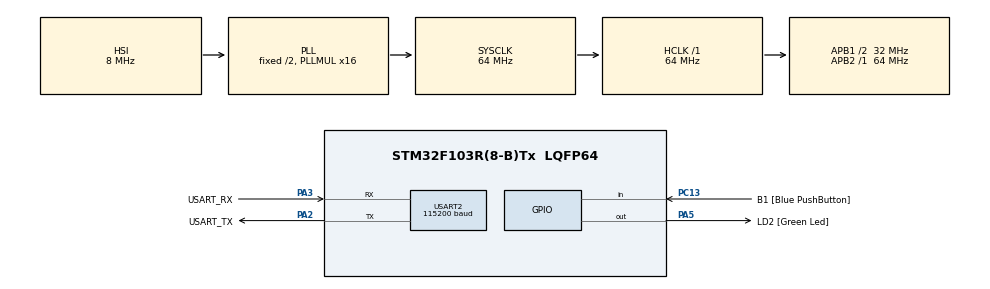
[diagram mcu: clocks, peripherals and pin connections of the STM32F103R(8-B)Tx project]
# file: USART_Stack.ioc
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Mcu.Family=STM32F1
Mcu.Name=STM32F103R(8-B)Tx
Mcu.Package=LQFP64
NVIC.PriorityGroup=NVIC_PRIORITYGROUP_4
NVIC.USART2_IRQn=true\:1\:0\:false\:false\:true\:true\:true\:true
PA13.GPIO_Label=TMS
PA13.Mode=Serial_Wire
PA13.Signal=SYS_JTMS-SWDIO
PA14.GPIO_Label=TCK
PA14.Mode=Serial_Wire
PA14.Signal=SYS_JTCK-SWCLK
PA2.GPIO_Label=USART_TX
PA2.GPIO_Mode=GPIO_MODE_AF_PP
PA2.GPIO_PuPd=GPIO_NOPULL
PA2.GPIO_Speed=GPIO_SPEED_FREQ_LOW
PA2.Mode=Asynchronous
PA2.Signal=USART2_TX
PA3.GPIO_Label=USART_RX
PA3.GPIO_PuPd=GPIO_NOPULL
PA3.GPIO_Speed=GPIO_SPEED_FREQ_LOW
PA3.Mode=Asynchronous
PA3.Signal=USART2_RX
PA5.GPIO_Label=LD2 [Green Led]
PA5.GPIO_ModeDefaultOutputPP=GPIO_MODE_OUTPUT_PP
PA5.GPIO_PuPd=GPIO_NOPULL
PA5.GPIO_Speed=GPIO_SPEED_FREQ_LOW
PA5.Signal=GPIO_Output
PB3.GPIO_Label=SWO
PB3.Signal=SYS_JTDO-TRACESWO
PC13-TAMPER-RTC.GPIO_Label=B1 [Blue PushButton]
PC13-TAMPER-RTC.GPIO_PuPd=GPIO_NOPULL
PC13-TAMPER-RTC.Signal=GPIO_Input
PC14-OSC32_IN.Mode=LSE-External-Oscillator
PC14-OSC32_IN.Signal=RCC_OSC32_IN
PC15-OSC32_OUT.Mode=LSE-External-Oscillator
PC15-OSC32_OUT.Signal=RCC_OSC32_OUT
PD0-OSC_IN.Mode=HSE-External-Clock-Source
PD0-OSC_IN.Signal=RCC_OSC_IN
PD1-OSC_OUT.Mode=HSE-External-Clock-Source
PD1-OSC_OUT.Signal=RCC_OSC_OUT
ProjectManager.HeapSize=0x200
ProjectManager.StackSize=0x400
ProjectManager.TargetToolchain=STM32CubeIDE
RCC.AHBFreq_Value=64000000
RCC.APB1CLKDivider=RCC_HCLK_DIV2
RCC.APB1Freq_Value=32000000
RCC.APB1TimFreq_Value=64000000
RCC.APB2Freq_Value=64000000
RCC.APB2TimFreq_Value=64000000
RCC.HCLKFreq_Value=64000000
RCC.PLLMUL=RCC_PLL_MUL16
RCC.RTCClockSelection=RCC_RTCCLKSOURCE_LSE
RCC.SYSCLKFreq_VALUE=64000000
RCC.SYSCLKSource=RCC_SYSCLKSOURCE_PLLCLK
RCC.USBFreq_Value=64000000
USART2.BaudRate=115200
USART2.VirtualMode=VM_ASYNC
board=NUCLEO-F103RB

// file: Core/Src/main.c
/* USER CODE BEGIN Header */
/**
 ******************************************************************************
 * @file           : main.c
 * @brief          : Main program body
 ******************************************************************************
 * @attention
 *
 * Copyright (c) 2026 STMicroelectronics.
 * All rights reserved.
 *
 * This software is licensed under terms that can be found in the LICENSE file
 * in the root directory of this software component.
 * If no LICENSE file comes with this software, it is provided AS-IS.
 *
 ******************************************************************************
 */
/**
 * 07_USART_Stack  —  [계층: HAL + CMSIS 내장 함수]  스택(LIFO) 자료구조: 괄호 검사기 + ISR 공유 시 경쟁 상태 실험
 *
 * 교안: 이 폴더의 "스택 교안.html" (짝 교안: 03_USART_RingBuffer/"UART 링 버퍼 교안.html")
 *
 * 구조
 *   수신 : 03_USART_RingBuffer 와 같은 링 버퍼(FIFO). ISR 이 push, main 이 pop  -> 받은 순서 유지
 *   검사 : main 이 꺼낸 글자를 스택(LIFO)으로 괄호 검사. 여는 괄호 push, 닫는 괄호 pop 후 짝 비교
 *   스택 : 배열 + top 하나. top = "다음에 쓸 빈 칸" = 저장된 개수.  empty: top == 0,  full: top == size
 *          링 버퍼와 달리 되감기가 없어 N 칸을 모두 쓰고, 크기가 2 의 거듭제곱일 필요도 없다.
 *
 * 시험 방법 (터미널 115200 8N1)
 *   - 괄호가 섞인 한 줄을 입력하고 엔터: "OK" 또는 mismatch / underflow / unclosed / overflow 와 위치(col) 출력
 *     예) {a[b(c)d]e} -> OK,  ([)] -> mismatch,  (a)) -> underflow,  ((a) -> unclosed,  9단 중첩 -> overflow (BR_STK_SIZE=8)
 *   - B1(PC13): 경쟁 상태 실험. SysTick ISR(1ms) 이 공유 스택에 push 하는 동안 main 이 같은 스택에 push/pop 을 반복한다.
 *       ① 보호 없음     : main 의 top 읽기-수정-쓰기 사이에 ISR 이 끼어들면 ISR 이 넣은 항목이 사라진다 (lost > 0 기대)
 *       ② PRIMASK 보호  : 같은 동작을 임계 구역으로 감싸면 lost = 0
 *
 * 하드웨어 대응
 *   USART2->CR1.RXNEIE, SR.RXNE, DR (HAL_UART_Receive_IT 가 관리). NVIC USART2_IRQn.
 *   SysTick (SysTick->CTRL/LOAD/VAL, HAL_Init 이 1ms 로 설정). PRIMASK 특수 레지스터 bit0 (1 = 설정 가능한 예외 모두 차단).
 *
 * ISR vs 콜백
 *   USART2_IRQHandler (stm32f1xx_it.c, 진짜 ISR) -> HAL_UART_IRQHandler() -> HAL_UART_RxCpltCallback() (이 파일, ISR 문맥: 링 버퍼 push)
 *   SysTick_Handler   (stm32f1xx_it.c, 진짜 ISR) -> HAL_IncTick() 다음 USER CODE 영역에서 Stack_RaceTick() (이 파일, ISR 문맥: 공유 스택 push)
 */
/* USER CODE END Header */
#include "main.h"

/* USER CODE BEGIN Includes */
#include <stdio.h>
#include <string.h>
/* USER CODE END Includes */

/* USER CODE BEGIN PTD */
#define RB_SIZE 128U                      /* 링 버퍼: 반드시 2 의 거듭제곱 */
#define RB_MASK (RB_SIZE - 1U)

typedef struct {
    volatile uint32_t head;               /* 다음에 쓸 위치 (생산자=ISR 만 수정) */
    volatile uint32_t tail;               /* 다음에 읽을 위치 (소비자=main 만 수정) */
    uint8_t buf[RB_SIZE];
} ringbuf_t;

/* 스택. 이름을 stack_t 로 하지 않는다 (newlib <signal.h> 의 stack_t 와 충돌) */
typedef struct {
    uint8_t *buf;                         /* 저장 공간 (외부 배열) */
    uint32_t size;                        /* 칸 수 N. 2 의 거듭제곱일 필요 없음 */
    volatile uint32_t top;                /* 다음에 쓸 빈 칸 = 저장된 개수. ISR 과 공유할 수 있으므로 volatile */
    uint32_t max_depth;                   /* 학습용 통계: 최대 깊이 */
} stk_t;
/* USER CODE END PTD */

/* USER CODE BEGIN PD */
#define BR_STK_SIZE   8U                  /* 괄호 검사 스택: 교안 시뮬레이터 기본값과 같은 8칸 (9단 중첩이면 overflow) */
#define RACE_STK_SIZE 1024U               /* 경쟁 실험 스택: ISR 이 RACE_MS 동안 1ms 마다 1개씩 쌓아도 넘치지 않는 크기 */
#define RACE_MS       500U                /* 실험 한 번의 길이 (ms) */
/* USER CODE END PD */

UART_HandleTypeDef huart2;

/* USER CODE BEGIN PV */
static ringbuf_t rb;
static uint8_t rx_byte;
static volatile uint32_t dropped;         /* 링 버퍼가 가득 차 버린 바이트 수 */

static uint8_t br_mem[BR_STK_SIZE];
static stk_t   br_stk = { br_mem, BR_STK_SIZE, 0U, 0U };      /* main 전용: 괄호 검사 */

static uint8_t race_mem[RACE_STK_SIZE];
static stk_t   race_stk = { race_mem, RACE_STK_SIZE, 0U, 0U }; /* SysTick ISR 과 main 이 공유 */
static volatile uint8_t  race_active;     /* 1 이면 SysTick ISR 이 race_stk 에 push */
static volatile uint32_t race_isr_push;   /* ISR 이 push 에 성공한 횟수 */
/* USER CODE END PV */

void SystemClock_Config(void);
static void MX_GPIO_Init(void);
static void MX_USART2_UART_Init(void);

/* USER CODE BEGIN 0 */
/* ------------------------------------------------------------------------- */
/* 링 버퍼 (03_USART_RingBuffer 와 동일)                                         */
/* ------------------------------------------------------------------------- */
/* 생산자 측 (ISR 에서 호출). 가득 차면 새 바이트를 버리고 0 반환 */
static int rb_push(ringbuf_t *r, uint8_t b)
{
  uint32_t next = (r->head + 1U) & RB_MASK;
  if (next == r->tail) return 0;        /* full */
  r->buf[r->head] = b;
  r->head = next;                       /* 데이터를 쓴 "뒤에" head 갱신 */
  return 1;
}

/* 소비자 측 (main). 비어 있으면 0 반환 */
static int rb_pop(ringbuf_t *r, uint8_t *b)
{
  if (r->head == r->tail) return 0;     /* empty */
  *b = r->buf[r->tail];
  r->tail = (r->tail + 1U) & RB_MASK;
  return 1;
}

/* ------------------------------------------------------------------------- */
/* 스택 (LIFO). top = 다음 빈 칸.  push: 검사 -> 쓰기 -> top++,  pop: 검사 -> top-- -> 읽기 */
/* ------------------------------------------------------------------------- */
static void stk_reset(stk_t *s) { s->top = 0U; s->max_depth = 0U; }

static int stk_push(stk_t *s, uint8_t v)
{
  if (s->top >= s->size) return 0;     /* overflow: buf[size] 는 배열 바깥 */
  s->buf[s->top] = v;
  s->top++;                             /* LDR -> ADDS -> STR 세 단계 (원자적이지 않음) */
  if (s->top > s->max_depth) s->max_depth = s->top;
  return 1;
}

static int stk_pop(stk_t *s, uint8_t *v)
{
  if (s->top == 0U) return 0;           /* underflow: 꺼낼 것이 없다 */
  s->top--;                             /* LDR -> SUBS -> STR 세 단계 (원자적이지 않음) */
  *v = s->buf[s->top];
  return 1;
}

static int stk_peek(const stk_t *s, uint8_t *v)
{
  if (s->top == 0U) return 0;
  *v = s->buf[s->top - 1U];             /* top 은 바꾸지 않는다 */
  return 1;
}

/* ISR 과 공유하는 스택용: PRIMASK 를 저장 -> 차단 -> 복원 (무조건 __enable_irq() 하지 않는다) */
static int stk_push_safe(stk_t *s, uint8_t v)
{
  uint32_t primask = __get_PRIMASK();   /* 현재 PRIMASK 저장 (호출 전에 이미 막혀 있었을 수 있음) */
  __disable_irq();                      /* CPSID i: PRIMASK = 1, NMI/HardFault 외 모든 예외 차단 */
  int ok = stk_push(s, v);
  __set_PRIMASK(primask);               /* 원래 상태로 복원 */
  return ok;
}

static int stk_pop_safe(stk_t *s, uint8_t *v)
{
  uint32_t primask = __get_PRIMASK();
  __disable_irq();
  int ok = stk_pop(s, v);
  __set_PRIMASK(primask);
  return ok;
}

/* ------------------------------------------------------------------------- */
/* UART 출력 도우미 (main 에서만 호출. ISR 안에서는 전송하지 않는다)                 */
/* ------------------------------------------------------------------------- */
static void uart_puts(const char *s)
{
  HAL_UART_Transmit(&huart2, (uint8_t *)s, (uint16_t)strlen(s), 100);
}

/* ------------------------------------------------------------------------- */
/* 괄호 검사기: 한 줄을 한 글자씩 받아 스택으로 검사                                */
/* ------------------------------------------------------------------------- */
typedef enum { BR_OK = 0, BR_OVERFLOW, BR_UNDERFLOW, BR_MISMATCH, BR_UNCLOSED } br_err_t;

static br_err_t br_err;                   /* 이 줄의 첫 오류 (BR_OK 면 아직 오류 없음) */
static uint32_t br_col;                   /* 현재 글자 위치 (1부터) */
static uint32_t br_err_col;               /* 첫 오류 위치 */
static uint8_t  br_got, br_open;          /* mismatch 일 때 닫는 괄호 / 스택에서 꺼낸 여는 괄호 */

static uint8_t br_pair_of(uint8_t close)  /* 닫는 괄호에 짝이 되는 여는 괄호 */
{
  return (close == ')') ? '(' : (close == ']') ? '[' : '{';
}

static void br_feed(uint8_t c)
{
  br_col++;
  if (br_err != BR_OK) return;          /* 첫 오류 이후는 검사하지 않는다 (에코만) */

  if (c == '(' || c == '[' || c == '{')
  {
    if (!stk_push(&br_stk, c)) { br_err = BR_OVERFLOW; br_err_col = br_col; }
  }
  else if (c == ')' || c == ']' || c == '}')
  {
    uint8_t o;
    if (!stk_pop(&br_stk, &o))      { br_err = BR_UNDERFLOW; br_err_col = br_col; }
    else if (o != br_pair_of(c))    { br_err = BR_MISMATCH;  br_err_col = br_col; br_open = o; br_got = c; }
  }
  /* 괄호가 아닌 글자는 무시 */
}

static void br_finish_line(char *msg, size_t len)
{
  uint8_t t;
  if (br_err == BR_OK && stk_peek(&br_stk, &t)) { br_err = BR_UNCLOSED; br_open = t; }

  switch (br_err)
  {
  case BR_OK:
    snprintf(msg, len, "\r\n  OK (max_depth=%lu/%lu)\r\n",
             (unsigned long)br_stk.max_depth, (unsigned long)br_stk.size);
    break;
  case BR_OVERFLOW:
    snprintf(msg, len, "\r\n  overflow at col %lu: nesting deeper than %lu\r\n",
             (unsigned long)br_err_col, (unsigned long)br_stk.size);
    break;
  case BR_UNDERFLOW:
    snprintf(msg, len, "\r\n  underflow at col %lu: no open bracket to close\r\n",
             (unsigned long)br_err_col);
    break;
  case BR_MISMATCH:
    snprintf(msg, len, "\r\n  mismatch at col %lu: '%c' closed by '%c'\r\n",
             (unsigned long)br_err_col, br_open, br_got);
    break;
  default: /* BR_UNCLOSED */
    snprintf(msg, len, "\r\n  unclosed: %lu open bracket(s) left, top='%c'\r\n",
             (unsigned long)br_stk.top, br_open);
    break;
  }
  uart_puts(msg);

  stk_reset(&br_stk);                   /* 다음 줄 준비 */
  br_err = BR_OK; br_col = 0U;
}

/* ------------------------------------------------------------------------- */
/* 경쟁 상태 실험: ISR 이 push 하는 동안 main 도 같은 top 을 push/pop 으로 수정        */
/*   main 의 push/pop 은 짝을 이뤄 순증감 0 이므로, 정상이라면 끝난 뒤 top == ISR push 횟수 */
/*   lost = ISR push 횟수 - top  (읽기-수정-쓰기가 끊겨 사라진 항목 수)                */
/* ------------------------------------------------------------------------- */
static uint32_t race_run(int protect, uint32_t *loops)
{
  uint8_t d;
  uint32_t n = 0U;

  stk_reset(&race_stk);
  race_isr_push = 0U;
  race_active = 1U;                     /* 이제부터 SysTick ISR 이 push 한다 */

  uint32_t t0 = HAL_GetTick();
  while ((HAL_GetTick() - t0) < RACE_MS)
  {
    if (protect) { stk_push_safe(&race_stk, 'M'); stk_pop_safe(&race_stk, &d); }
    else         { stk_push(&race_stk, 'M');      stk_pop(&race_stk, &d); }
    n++;
  }

  race_active = 0U;                     /* 이후 ISR 은 아무것도 하지 않으므로 아래 값은 고정 */
  *loops = n;
  return race_isr_push - race_stk.top;
}
/* USER CODE END 0 */

int main(void)
{

  /* USER CODE BEGIN 1 */
  char msg[96];
  uint8_t c;
  uint32_t line_len = 0U;               /* 현재 줄에 들어온 글자 수 (빈 줄 무시용) */
  /* USER CODE END 1 */

  /* MCU Configuration--------------------------------------------------------*/

  /* Reset of all peripherals, Initializes the Flash interface and the Systick. */
  HAL_Init();

  /* Configure the system clock */
  SystemClock_Config();

  /* Initialize all configured peripherals */
  MX_GPIO_Init();
  MX_USART2_UART_Init();
  /* USER CODE BEGIN 2 */
  uart_puts("\r\n[stack demo] type a line with ()[]{} and press Enter. B1 = ISR race test\r\n");
  HAL_UART_Receive_IT(&huart2, &rx_byte, 1);
  /* USER CODE END 2 */

  /* Infinite loop */
  while (1)
  {

    /* USER CODE BEGIN 3 */
    /* B1: 경쟁 상태 실험 (보호 없음 -> PRIMASK 보호 순서) */
    if (HAL_GPIO_ReadPin(B1_GPIO_Port, B1_Pin) == GPIO_PIN_RESET)   /* GPIOC->IDR bit13 (B1: 누르면 Low) */
    {
      uint32_t loops, lost;
      uart_puts("\r\n[race test] SysTick ISR pushes every 1ms, main pushes/pops the same stack\r\n");

      lost = race_run(0, &loops);
      snprintf(msg, sizeof msg, "  unprotected : isr_push=%lu, top=%lu, lost=%lu (main loops=%lu)\r\n",
               (unsigned long)race_isr_push, (unsigned long)race_stk.top,
               (unsigned long)lost, (unsigned long)loops);
      uart_puts(msg);

      lost = race_run(1, &loops);
      snprintf(msg, sizeof msg, "  PRIMASK     : isr_push=%lu, top=%lu, lost=%lu (main loops=%lu)\r\n",
               (unsigned long)race_isr_push, (unsigned long)race_stk.top,
               (unsigned long)lost, (unsigned long)loops);
      uart_puts(msg);

      while (HAL_GPIO_ReadPin(B1_GPIO_Port, B1_Pin) == GPIO_PIN_RESET) {}
    }

    /* 링 버퍼(FIFO)에서 받은 순서대로 꺼내 스택(LIFO)으로 괄호 검사 */
    while (rb_pop(&rb, &c))
    {
      if (c == '\r' || c == '\n')
      {
        if (line_len > 0U) br_finish_line(msg, sizeof msg);   /* CR+LF 의 두 번째 글자 같은 빈 줄은 무시 */
        line_len = 0U;
      }
      else
      {
        line_len++;
        br_feed(c);
        HAL_UART_Transmit(&huart2, &c, 1, 10);   /* 에코 */
      }
    }

    if (dropped != 0U)                  /* 링 버퍼 유실 알림 (한 번 알리고 초기화) */
    {
      snprintf(msg, sizeof msg, "\r\n[rx ring buffer dropped %lu byte(s)]\r\n", (unsigned long)dropped);
      dropped = 0U;
      uart_puts(msg);
    }
  }
  /* USER CODE END 3 */
}

void SystemClock_Config(void)
{
  RCC_OscInitTypeDef RCC_OscInitStruct = {0};
  RCC_ClkInitTypeDef RCC_ClkInitStruct = {0};

  /** Initializes the RCC Oscillators according to the specified parameters
  * in the RCC_OscInitTypeDef structure.
  */
  RCC_OscInitStruct.OscillatorType = RCC_OSCILLATORTYPE_HSI;
  RCC_OscInitStruct.HSIState = RCC_HSI_ON;
  RCC_OscInitStruct.HSICalibrationValue = RCC_HSICALIBRATION_DEFAULT;
  RCC_OscInitStruct.PLL.PLLState = RCC_PLL_ON;
  RCC_OscInitStruct.PLL.PLLSource = RCC_PLLSOURCE_HSI_DIV2;
  RCC_OscInitStruct.PLL.PLLMUL = RCC_PLL_MUL16;
  if (HAL_RCC_OscConfig(&RCC_OscInitStruct) != HAL_OK)
  {
    Error_Handler();
  }

  /** Initializes the CPU, AHB and APB buses clocks
  */
  RCC_ClkInitStruct.ClockType = RCC_CLOCKTYPE_HCLK|RCC_CLOCKTYPE_SYSCLK
                              |RCC_CLOCKTYPE_PCLK1|RCC_CLOCKTYPE_PCLK2;
  RCC_ClkInitStruct.SYSCLKSource = RCC_SYSCLKSOURCE_PLLCLK;
  RCC_ClkInitStruct.AHBCLKDivider = RCC_SYSCLK_DIV1;
  RCC_ClkInitStruct.APB1CLKDivider = RCC_HCLK_DIV2;
  RCC_ClkInitStruct.APB2CLKDivider = RCC_HCLK_DIV1;

  if (HAL_RCC_ClockConfig(&RCC_ClkInitStruct, FLASH_LATENCY_2) != HAL_OK)
  {
    Error_Handler();
  }
}

static void MX_USART2_UART_Init(void)
{

  huart2.Instance = USART2;
  huart2.Init.BaudRate = 115200;
  huart2.Init.WordLength = UART_WORDLENGTH_8B;
  huart2.Init.StopBits = UART_STOPBITS_1;
  huart2.Init.Parity = UART_PARITY_NONE;
  huart2.Init.Mode = UART_MODE_TX_RX;
  huart2.Init.HwFlowCtl = UART_HWCONTROL_NONE;
  huart2.Init.OverSampling = UART_OVERSAMPLING_16;
  if (HAL_UART_Init(&huart2) != HAL_OK)
  {
    Error_Handler();
  }

}

static void MX_GPIO_Init(void)
{
  GPIO_InitTypeDef GPIO_InitStruct = {0};

  /* GPIO Ports Clock Enable */
  __HAL_RCC_GPIOC_CLK_ENABLE();
  __HAL_RCC_GPIOD_CLK_ENABLE();
  __HAL_RCC_GPIOA_CLK_ENABLE();
  __HAL_RCC_GPIOB_CLK_ENABLE();

  /*Configure GPIO pin Output Level */
  HAL_GPIO_WritePin(LD2_GPIO_Port, LD2_Pin, GPIO_PIN_RESET);

  /*Configure GPIO pin : B1_Pin */
  GPIO_InitStruct.Pin = B1_Pin;
  GPIO_InitStruct.Mode = GPIO_MODE_INPUT;
  GPIO_InitStruct.Pull = GPIO_NOPULL;
  HAL_GPIO_Init(B1_GPIO_Port, &GPIO_InitStruct);

  /*Configure GPIO pin : LD2_Pin */
  GPIO_InitStruct.Pin = LD2_Pin;
  GPIO_InitStruct.Mode = GPIO_MODE_OUTPUT_PP;
  GPIO_InitStruct.Pull = GPIO_NOPULL;
  GPIO_InitStruct.Speed = GPIO_SPEED_FREQ_LOW;
  HAL_GPIO_Init(LD2_GPIO_Port, &GPIO_InitStruct);

}

/* USER CODE BEGIN 4 */
/* ------------------------------------------------------------------------- */
/* HAL 콜백 (ISR 문맥): 1바이트 수신 완료 -> 링 버퍼에 push 후 재무장                */
/* ------------------------------------------------------------------------- */
void HAL_UART_RxCpltCallback(UART_HandleTypeDef *huart)
{
  if (huart->Instance != USART2) return;
  if (!rb_push(&rb, rx_byte)) dropped++;
  HAL_UART_Receive_IT(&huart2, &rx_byte, 1);
}

void HAL_UART_ErrorCallback(UART_HandleTypeDef *huart)      /* 오버런(ORE) 등: 수신 재시작 */
{
  if (huart->Instance == USART2) HAL_UART_Receive_IT(&huart2, &rx_byte, 1);
}

/* ------------------------------------------------------------------------- */
/* SysTick ISR 에서 호출되는 사용자 함수 (ISR 문맥, HAL 콜백 아님)                   */
/*   stm32f1xx_it.c 의 SysTick_Handler -> HAL_IncTick() 다음 USER CODE 영역에서 1ms 마다 호출 */
/*   ISR 은 main 에 끼어들 수 있지만 main 은 ISR 에 끼어들 수 없으므로, ISR 쪽 push 는 보호하지 않는다 */
/* ------------------------------------------------------------------------- */
void Stack_RaceTick(void)
{
  if (!race_active) return;
  if (stk_push(&race_stk, 'I')) race_isr_push++;
}
/* USER CODE END 4 */

void Error_Handler(void)
{
  __disable_irq();
  while (1) {
  }
}
#ifdef USE_FULL_ASSERT
/**
  * @brief  Reports the name of the source file and the source line number
  *         where the assert_param error has occurred.
  * @param  file: pointer to the source file name
  * @param  line: assert_param error line source number
  * @retval None
  */
void assert_failed(uint8_t *file, uint32_t line)
{
  /* USER CODE BEGIN 6 */
  /* User can add his own implementation to report the file name and line
     number, ex: printf("Wrong parameters value: file %s on line %d\r\n", file,
     line) */
  /* USER CODE END 6 */
}
#endif /* USE_FULL_ASSERT */
